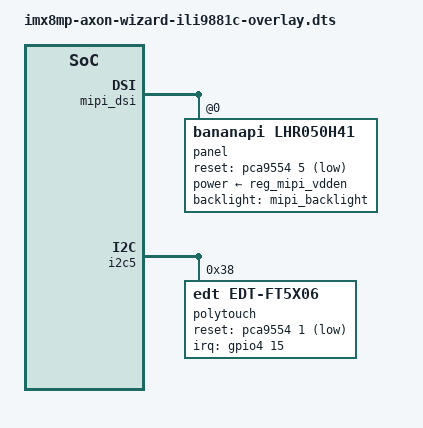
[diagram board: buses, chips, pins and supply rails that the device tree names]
// SPDX-License-Identifier: (GPL-2.0+ OR MIT)
/*
 * Copyright 2021 Technexion Ltd.
 *
 * Author: Richard Hu <richard.hu@technexion.com>
 *
 */

/dts-v1/;
/plugin/;

#include <dt-bindings/interrupt-controller/irq.h>
#include <dt-bindings/gpio/gpio.h>

/ {
	fragment@0 {
		target-path = "/";
		__overlay__ {
			reg_mipi_pwr: regulator_mipipwr {
				regulator-always-on;
				status = "okay";
			};

			reg_mipi_vdden: regulator_mipivdden {
				regulator-always-on;
				status = "okay";
			};

			mipi_backlight: mipi_backlight {
				status = "okay";
			};

			reg_mipi_bl_en: regulator_mipiblen {
				regulator-always-on;
				status = "okay";
			};
		};
	};

	fragment@1 {
		target = <&mipi_dsi>;
		__overlay__ {
			#address-cells = <1>;
			#size-cells = <0>;
			status = "okay";
			panel@0 {
				compatible = "bananapi,lhr050h41", "ilitek,ili9881c";
				backlight = <&mipi_backlight>;
				power-supply = <&reg_mipi_vdden>;
				reset-gpio = <&pca9554 5 GPIO_ACTIVE_LOW>;
				reg = <0>;
				timing-mode = <0>;
				video-mode = <2>;
				/*
				0: burst mode
				1: non-burst mode with sync event
				2: non-burst mode with sync pulse
				*/
				status = "okay";
			};
		};
	};

	fragment@2 {
		target = <&i2c5>; /* I2C_C */
		__overlay__ {
			#address-cells = <1>;
			#size-cells = <0>;
			status = "okay";

			polytouch: edt-ft5x06@38 {
				compatible = "edt,edt-ft5x06";
				pinctrl-names = "default";
				pinctrl-0 = <&pinctrl_ft5336_touch_irq>;
				reg = <0x38>;
				interrupt-parent = <&gpio4>;
				interrupts = <15 IRQ_TYPE_EDGE_FALLING>;
				reset-gpios = <&pca9554 1 GPIO_ACTIVE_LOW>;
				touchscreen-size-x = <720>;
				touchscreen-size-y = <1280>;
				status="okay";
			};
		};
	};
};

